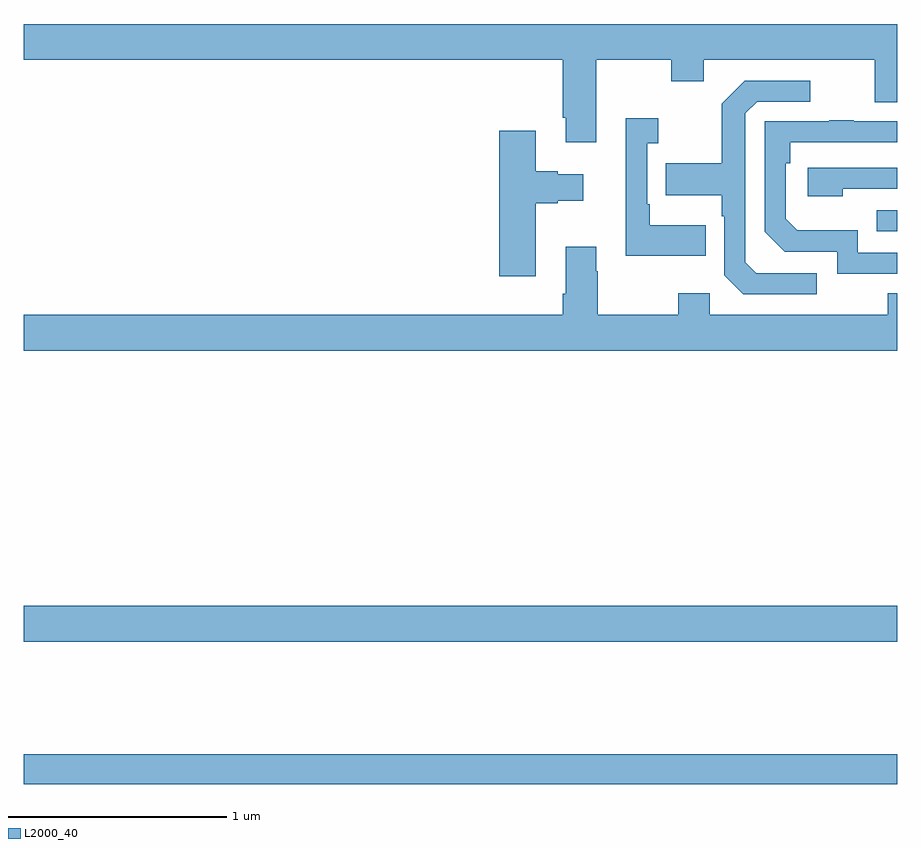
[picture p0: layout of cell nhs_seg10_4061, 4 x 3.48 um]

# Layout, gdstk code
import gdstk
lib = gdstk.Library(unit=1e-6, precision=1e-09)
def R(c, l, rs):  # rectangles x0, y0, x1, y1
    for r in rs: c.add(gdstk.rectangle(r[:2], r[2:], *l))
def P(c, l, *ps):  # polygons
    for p in ps: c.add(gdstk.Polygon(p, *l))
L2000_40 = (2000, 40)

nhs_seg10_4061 = lib.new_cell('nhs_seg10_4061')
R(nhs_seg10_4061, L2000_40, [(335,1320.976,339,1321.112), (335,1321.628,339,1321.792), (338.905,1323.507,339,1323.603)])
P(nhs_seg10_4061, L2000_40, [(337.621,1324.292),(337.966,1324.292),(337.966,1324.193),(338.113,1324.193),(338.113,1324.292),(338.897,1324.292),(338.897,1324.098),(339,1324.098),(339,1324.456),(335,1324.456),(335,1324.292),(337.469,1324.292),(337.469,1324.027),(337.481,1324.027),(337.481,1323.915),(337.621,1323.915)],
  [(338.632,1323.315),(338.355,1323.315),(338.304,1323.366),(338.304,1324.047),(338.358,1324.101),(338.602,1324.101),(338.602,1324.197),(338.301,1324.197),(338.196,1324.091),(338.196,1323.819),(337.939,1323.819),(337.939,1323.671),(338.196,1323.671),(338.196,1323.575),(338.208,1323.575),(338.208,1323.306),(338.295,1323.219),(338.632,1323.219)],
  [(338.123,1323.535),(337.867,1323.535),(337.867,1323.631),(337.854,1323.631),(337.854,1323.911),(337.906,1323.911),(337.906,1324.024),(337.757,1324.024),(337.757,1323.395),(338.123,1323.395)],
  [(339,1323.408),(338.82,1323.408),(338.82,1323.511),(338.543,1323.511),(338.49,1323.564),(338.49,1323.818),(338.51,1323.818),(338.51,1323.915),(339,1323.915),(339,1324.011),(338.801,1324.011),(338.801,1324.016),(338.689,1324.016),(338.689,1324.011),(338.394,1324.011),(338.394,1323.504),(338.484,1323.414),(338.724,1323.414),(338.724,1323.312),(339,1323.312)],
  [(337.345,1323.635),(337.445,1323.635),(337.445,1323.647),(337.561,1323.647),(337.561,1323.769),(337.445,1323.769),(337.445,1323.782),(337.345,1323.782),(337.345,1323.967),(337.178,1323.967),(337.178,1323.3),(337.345,1323.3)],
  [(338.75,1323.702),(339,1323.702),(339,1323.798),(338.589,1323.798),(338.589,1323.668),(338.75,1323.668)],
  [(339,1323.223),(338.956,1323.223),(338.956,1323.124),(338.142,1323.124),(338.142,1323.223),(337.996,1323.223),(337.996,1323.124),(337.629,1323.124),(337.629,1323.323),(337.621,1323.323),(337.621,1323.436),(337.481,1323.436),(337.481,1323.22),(337.469,1323.22),(337.469,1323.124),(335,1323.124),(335,1322.96),(339,1322.96)])

lib.write_gds('nhs_seg10_4061.gds')
